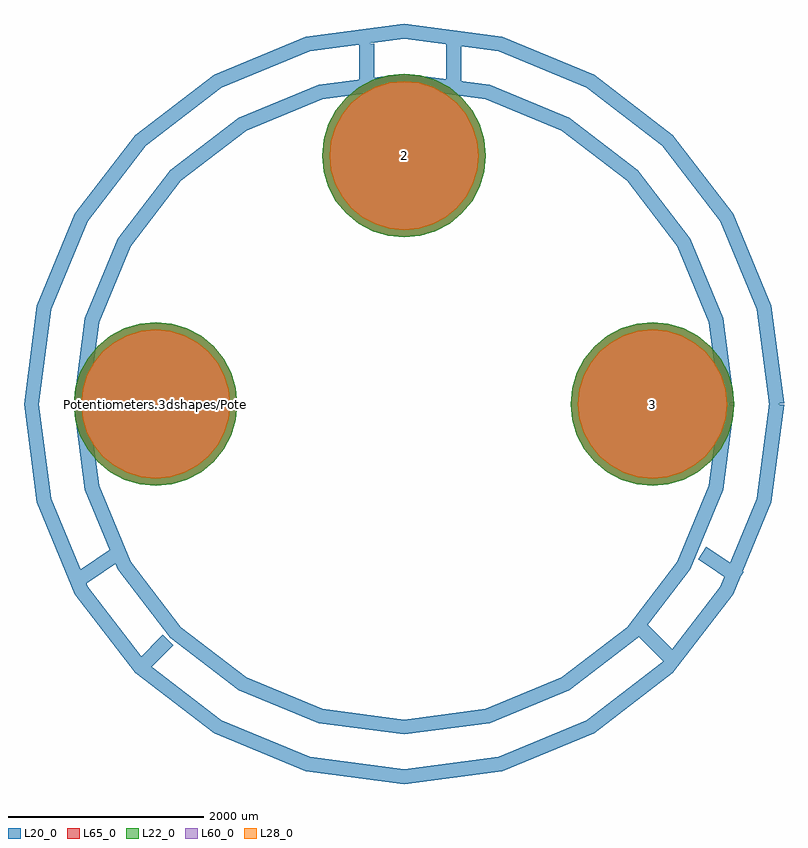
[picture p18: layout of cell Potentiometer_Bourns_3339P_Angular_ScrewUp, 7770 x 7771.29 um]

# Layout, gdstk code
import gdstk
lib = gdstk.Library(unit=1e-6, precision=1e-09)
def P(c, l, *ps):  # polygons
    for p in ps: c.add(gdstk.Polygon(p, *l))
L20_0 = (20, 0)
L22_0 = (22, 0)
L28_0 = (28, 0)
L60_0 = (60, 0)
L65_0 = (65, 0)

potentiometer_bourns_333 = lib.new_cell('Potentiometer_Bourns_3339P_Angular_ScrewUp')
P(potentiometer_bourns_333, L22_0, [(5917,0),(5900.917,163.291),(5853.287,320.306),(5775.94,465.012),(5671.848,591.848),(5545.012,695.94),(5400.306,773.287),(5243.291,820.917),(5080,837),(4916.709,820.917),(4759.694,773.287),(4614.988,695.94),(4488.152,591.848),(4384.06,465.012),(4306.713,320.306),(4259.083,163.291),(4243,0),(4259.083,-163.291),(4306.713,-320.306),(4384.06,-465.012),(4488.152,-591.848),(4614.988,-695.94),(4759.694,-773.287),(4916.709,-820.917),(5080,-837),(5243.291,-820.917),(5400.306,-773.287),(5545.012,-695.94),(5671.848,-591.848),(5775.94,-465.012),(5853.287,-320.306),(5900.917,-163.291)],
  [(837,0),(820.917,163.291),(773.287,320.306),(695.94,465.012),(591.848,591.848),(465.012,695.94),(320.306,773.287),(163.291,820.917),(0,837),(-163.291,820.917),(-320.306,773.287),(-465.012,695.94),(-591.848,591.848),(-695.94,465.012),(-773.287,320.306),(-820.917,163.291),(-837,0),(-820.917,-163.291),(-773.287,-320.306),(-695.94,-465.012),(-591.848,-591.848),(-465.012,-695.94),(-320.306,-773.287),(-163.291,-820.917),(0,-837),(163.291,-820.917),(320.306,-773.287),(465.012,-695.94),(591.848,-591.848),(695.94,-465.012),(773.287,-320.306),(820.917,-163.291)],
  [(3377,2540),(3360.917,2703.291),(3313.287,2860.306),(3235.94,3005.012),(3131.848,3131.848),(3005.012,3235.94),(2860.306,3313.287),(2703.291,3360.917),(2540,3377),(2376.709,3360.917),(2219.694,3313.287),(2074.988,3235.94),(1948.152,3131.848),(1844.06,3005.012),(1766.713,2860.306),(1719.083,2703.291),(1703,2540),(1719.083,2376.709),(1766.713,2219.694),(1844.06,2074.988),(1948.152,1948.152),(2074.988,1844.06),(2219.694,1766.713),(2376.709,1719.083),(2540,1703),(2703.291,1719.083),(2860.306,1766.713),(3005.012,1844.06),(3131.848,1948.152),(3235.94,2074.988),(3313.287,2219.694),(3360.917,2376.709)])
P(potentiometer_bourns_333, L28_0, [(5842,0),(5827.358,148.659),(5783.996,291.605),(5713.58,423.345),(5618.815,538.815),(5503.345,633.58),(5371.605,703.996),(5228.659,747.358),(5080,762),(4931.341,747.358),(4788.395,703.996),(4656.655,633.58),(4541.185,538.815),(4446.42,423.345),(4376.004,291.605),(4332.642,148.659),(4318,0),(4332.642,-148.659),(4376.004,-291.605),(4446.42,-423.345),(4541.185,-538.815),(4656.655,-633.58),(4788.395,-703.996),(4931.341,-747.358),(5080,-762),(5228.659,-747.358),(5371.605,-703.996),(5503.345,-633.58),(5618.815,-538.815),(5713.58,-423.345),(5783.996,-291.605),(5827.358,-148.659)],
  [(762,0),(747.358,148.659),(703.996,291.605),(633.58,423.345),(538.815,538.815),(423.345,633.58),(291.605,703.996),(148.659,747.358),(0,762),(-148.659,747.358),(-291.605,703.996),(-423.345,633.58),(-538.815,538.815),(-633.58,423.345),(-703.996,291.605),(-747.358,148.659),(-762,0),(-747.358,-148.659),(-703.996,-291.605),(-633.58,-423.345),(-538.815,-538.815),(-423.345,-633.58),(-291.605,-703.996),(-148.659,-747.358),(0,-762),(148.659,-747.358),(291.605,-703.996),(423.345,-633.58),(538.815,-538.815),(633.58,-423.345),(703.996,-291.605),(747.358,-148.659)],
  [(3302,2540),(3287.358,2688.659),(3243.996,2831.605),(3173.58,2963.345),(3078.815,3078.815),(2963.345,3173.58),(2831.605,3243.996),(2688.659,3287.358),(2540,3302),(2391.341,3287.358),(2248.395,3243.996),(2116.655,3173.58),(2001.185,3078.815),(1906.42,2963.345),(1836.004,2831.605),(1792.642,2688.659),(1778,2540),(1792.642,2391.341),(1836.004,2248.395),(1906.42,2116.655),(2001.185,2001.185),(2116.655,1906.42),(2248.395,1836.004),(2391.341,1792.642),(2540,1778),(2688.659,1792.642),(2831.605,1836.004),(2963.345,1906.42),(3078.815,2001.185),(3173.58,2116.655),(3243.996,2248.395),(3287.358,2391.341)])
P(potentiometer_bourns_333, L60_0, [(5842,0),(5827.358,148.659),(5783.996,291.605),(5713.58,423.345),(5618.815,538.815),(5503.345,633.58),(5371.605,703.996),(5228.659,747.358),(5080,762),(4931.341,747.358),(4788.395,703.996),(4656.655,633.58),(4541.185,538.815),(4446.42,423.345),(4376.004,291.605),(4332.642,148.659),(4318,0),(4332.642,-148.659),(4376.004,-291.605),(4446.42,-423.345),(4541.185,-538.815),(4656.655,-633.58),(4788.395,-703.996),(4931.341,-747.358),(5080,-762),(5228.659,-747.358),(5371.605,-703.996),(5503.345,-633.58),(5618.815,-538.815),(5713.58,-423.345),(5783.996,-291.605),(5827.358,-148.659)],
  [(762,0),(747.358,148.659),(703.996,291.605),(633.58,423.345),(538.815,538.815),(423.345,633.58),(291.605,703.996),(148.659,747.358),(0,762),(-148.659,747.358),(-291.605,703.996),(-423.345,633.58),(-538.815,538.815),(-633.58,423.345),(-703.996,291.605),(-747.358,148.659),(-762,0),(-747.358,-148.659),(-703.996,-291.605),(-633.58,-423.345),(-538.815,-538.815),(-423.345,-633.58),(-291.605,-703.996),(-148.659,-747.358),(0,-762),(148.659,-747.358),(291.605,-703.996),(423.345,-633.58),(538.815,-538.815),(633.58,-423.345),(703.996,-291.605),(747.358,-148.659)],
  [(3302,2540),(3287.358,2688.659),(3243.996,2831.605),(3173.58,2963.345),(3078.815,3078.815),(2963.345,3173.58),(2831.605,3243.996),(2688.659,3287.358),(2540,3302),(2391.341,3287.358),(2248.395,3243.996),(2116.655,3173.58),(2001.185,3078.815),(1906.42,2963.345),(1836.004,2831.605),(1792.642,2688.659),(1778,2540),(1792.642,2391.341),(1836.004,2248.395),(1906.42,2116.655),(2001.185,2001.185),(2116.655,1906.42),(2248.395,1836.004),(2391.341,1792.642),(2540,1778),(2688.659,1792.642),(2831.605,1836.004),(2963.345,1906.42),(3078.815,2001.185),(3173.58,2116.655),(3243.996,2248.395),(3287.358,2391.341)])
P(potentiometer_bourns_333, L65_0, [(5917,0),(5900.917,163.291),(5853.287,320.306),(5775.94,465.012),(5671.848,591.848),(5545.012,695.94),(5400.306,773.287),(5243.291,820.917),(5080,837),(4916.709,820.917),(4759.694,773.287),(4614.988,695.94),(4488.152,591.848),(4384.06,465.012),(4306.713,320.306),(4259.083,163.291),(4243,0),(4259.083,-163.291),(4306.713,-320.306),(4384.06,-465.012),(4488.152,-591.848),(4614.988,-695.94),(4759.694,-773.287),(4916.709,-820.917),(5080,-837),(5243.291,-820.917),(5400.306,-773.287),(5545.012,-695.94),(5671.848,-591.848),(5775.94,-465.012),(5853.287,-320.306),(5900.917,-163.291)],
  [(837,0),(820.917,163.291),(773.287,320.306),(695.94,465.012),(591.848,591.848),(465.012,695.94),(320.306,773.287),(163.291,820.917),(0,837),(-163.291,820.917),(-320.306,773.287),(-465.012,695.94),(-591.848,591.848),(-695.94,465.012),(-773.287,320.306),(-820.917,163.291),(-837,0),(-820.917,-163.291),(-773.287,-320.306),(-695.94,-465.012),(-591.848,-591.848),(-465.012,-695.94),(-320.306,-773.287),(-163.291,-820.917),(0,-837),(163.291,-820.917),(320.306,-773.287),(465.012,-695.94),(591.848,-591.848),(695.94,-465.012),(773.287,-320.306),(820.917,-163.291)],
  [(3377,2540),(3360.917,2703.291),(3313.287,2860.306),(3235.94,3005.012),(3131.848,3131.848),(3005.012,3235.94),(2860.306,3313.287),(2703.291,3360.917),(2540,3377),(2376.709,3360.917),(2219.694,3313.287),(2074.988,3235.94),(1948.152,3131.848),(1844.06,3005.012),(1766.713,2860.306),(1719.083,2703.291),(1703,2540),(1719.083,2376.709),(1766.713,2219.694),(1844.06,2074.988),(1948.152,1948.152),(2074.988,1844.06),(2219.694,1766.713),(2376.709,1719.083),(2540,1703),(2703.291,1719.083),(2860.306,1766.713),(3005.012,1844.06),(3131.848,1948.152),(3235.94,2074.988),(3313.287,2219.694),(3360.917,2376.709)])
potentiometer_bourns_333.add(gdstk.FlexPath([(6350,0),(6220.177,986.101),(5839.557,1905),(5234.077,2694.077),(4445,3299.557),(3526.101,3680.177),(2540,3810),(1553.899,3680.177),(635,3299.557),(-154.077,2694.077),(-759.557,1905),(-1140.177,986.101),(-1270,0),(-1140.177,-986.101),(-759.557,-1905),(-154.077,-2694.077),(635,-3299.557),(1553.899,-3680.177),(2540,-3810),(3526.101,-3680.177),(4445,-3299.557),(5234.077,-2694.077),(5839.557,-1905),(6220.177,-986.101),(6350,0)], 149.998, ends="flush", simple_path=True, layer=20, datatype=0))  # L20_0
potentiometer_bourns_333.add(gdstk.FlexPath([(5842,0),(5729.487,854.62),(5399.616,1651),(4874.867,2334.867),(4191,2859.616),(3394.62,3189.487),(2540,3302),(1685.38,3189.487),(889,2859.616),(205.133,2334.867),(-319.616,1651),(-649.487,854.62),(-762,0),(-649.487,-854.62),(-319.616,-1651),(205.133,-2334.867),(889,-2859.616),(1685.38,-3189.487),(2540,-3302),(3394.62,-3189.487),(4191,-2859.616),(4874.867,-2334.867),(5399.616,-1651),(5729.487,-854.62),(5842,0)], 149.998, ends="flush", simple_path=True, layer=20, datatype=0))  # L20_0
potentiometer_bourns_333.add(gdstk.FlexPath([(2159,3302),(2159,3683)], 149.998, ends="flush", simple_path=True, layer=20, datatype=0))  # L20_0
potentiometer_bourns_333.add(gdstk.FlexPath([(3048,3302),(3048,3683)], 149.998, ends="flush", simple_path=True, layer=20, datatype=0))  # L20_0
potentiometer_bourns_333.add(gdstk.FlexPath([(-127,-2667),(127,-2413)], 149.998, ends="flush", simple_path=True, layer=20, datatype=0))  # L20_0
potentiometer_bourns_333.add(gdstk.FlexPath([(-762,-1778),(-381,-1524)], 149.998, ends="flush", simple_path=True, layer=20, datatype=0))  # L20_0
potentiometer_bourns_333.add(gdstk.FlexPath([(5969,-1778),(5588,-1524)], 149.998, ends="flush", simple_path=True, layer=20, datatype=0))  # L20_0
potentiometer_bourns_333.add(gdstk.FlexPath([(5334,-2667),(4953,-2286)], 149.998, ends="flush", simple_path=True, layer=20, datatype=0))  # L20_0
potentiometer_bourns_333.add(gdstk.Label('Potentiometers.3dshapes/Potentiometer_Bourns_3339P_Angular_ScrewUp.wrl', (0,0), layer=12, texttype=0))
potentiometer_bourns_333.add(gdstk.Label('3', (5080,0), layer=28, texttype=0))
potentiometer_bourns_333.add(gdstk.Label('1', (0,0), layer=28, texttype=0))
potentiometer_bourns_333.add(gdstk.Label('2', (2540,2540), layer=28, texttype=0))
potentiometer_bourns_333.add(gdstk.Label('type', (2540,-6350), layer=9, texttype=0))
potentiometer_bourns_333.add(gdstk.Label('devicename', (2540,6350), layer=9, texttype=0))

lib.write_gds('Potentiometer_Bourns_3339P_Angular_ScrewUp.gds')
